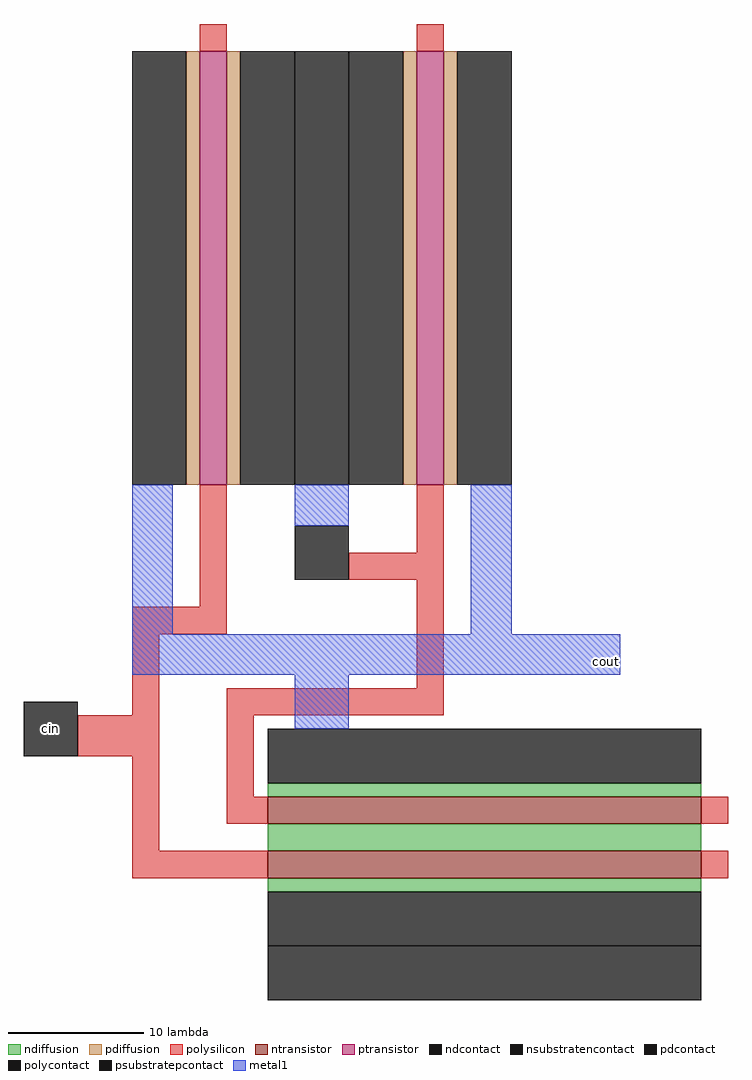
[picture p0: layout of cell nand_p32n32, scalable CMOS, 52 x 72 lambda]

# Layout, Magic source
magic
tech scmos
<< polysilicon >>
rect -10 39 -8 41
rect 6 39 8 41
rect -10 -2 -8 7
rect 6 2 8 7
rect 1 0 8 2
rect -15 -4 -8 -2
rect -15 -10 -13 -4
rect 6 -8 8 0
rect -19 -13 -13 -10
rect -15 -20 -13 -13
rect -8 -10 8 -8
rect -8 -16 -6 -10
rect -8 -18 -5 -16
rect 27 -18 29 -16
rect -15 -22 -5 -20
rect 27 -22 29 -20
<< ndiffusion >>
rect -5 -16 27 -15
rect -5 -20 27 -18
rect -5 -23 27 -22
<< pdiffusion >>
rect -11 7 -10 39
rect -8 7 -7 39
rect 5 7 6 39
rect 8 7 9 39
<< metal1 >>
rect -15 -4 -12 7
rect -3 4 1 7
rect 10 -4 13 7
rect -15 -7 21 -4
rect -3 -11 1 -7
<< ntransistor >>
rect -5 -18 27 -16
rect -5 -22 27 -20
<< ptransistor >>
rect -10 7 -8 39
rect 6 7 8 39
<< polycontact >>
rect -3 0 1 4
rect -23 -13 -19 -9
<< ndcontact >>
rect -5 -15 27 -11
rect -5 -27 27 -23
<< pdcontact >>
rect -15 7 -11 39
rect -7 7 -3 39
rect 1 7 5 39
rect 9 7 13 39
<< psubstratepcontact >>
rect -5 -31 27 -27
<< nsubstratencontact >>
rect -3 7 1 39
<< labels >>
rlabel metal1 20 -6 20 -6 7 cout
rlabel polycontact -21 -11 -21 -11 3 cin
<< end >>
